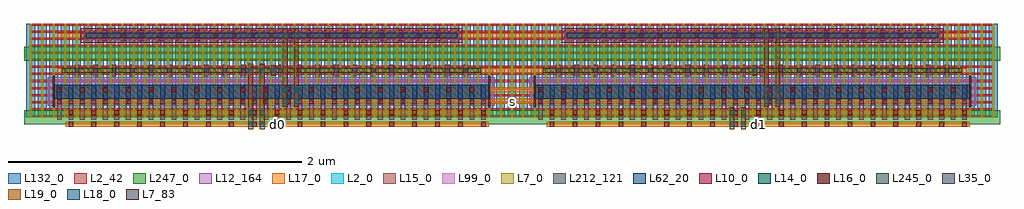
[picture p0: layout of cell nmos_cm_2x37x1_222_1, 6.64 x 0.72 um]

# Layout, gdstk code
import gdstk
lib = gdstk.Library(unit=1e-6, precision=1e-12)
def R(c, l, rs):  # rectangles x0, y0, x1, y1
    for r in rs: c.add(gdstk.rectangle(r[:2], r[2:], *l))
def A(c, l, x, y, w, h, nx, ny, dx, dy):  # array of equal rectangles
    R(c, l, [(x+i*dx, y+j*dy, x+i*dx+w, y+j*dy+h) for i in range(nx) for j in range(ny)])
L2_0 = (2, 0)
L2_42 = (2, 42)
L7_0 = (7, 0)
L7_83 = (7, 83)
L10_0 = (10, 0)
L12_164 = (12, 164)
L14_0 = (14, 0)
L15_0 = (15, 0)
L16_0 = (16, 0)
L17_0 = (17, 0)
L18_0 = (18, 0)
L19_0 = (19, 0)
L35_0 = (35, 0)
L62_20 = (62, 20)
L99_0 = (99, 0)
L132_0 = (132, 0)
L212_121 = (212, 121)
L245_0 = (245, 0)
L247_0 = (247, 0)

nmos_cm_2x37x1_222_1 = lib.new_cell('nmos_cm_2x37x1_222_1')
R(nmos_cm_2x37x1_222_1, L2_0, [(0.186,0.127,3.15,0.223), (3.462,0.127,6.426,0.223), (0.3893,0.527,2.9467,0.587), (3.6653,0.527,6.2227,0.587)])
A(nmos_cm_2x37x1_222_1, L2_42, 0.023, 0, 6.552, 0.014, 1, 14, 0, 0.048)
A(nmos_cm_2x37x1_222_1, L7_0, 0.023, 0, 0.014, 0.638, 85, 1, 0.078, 0)
R(nmos_cm_2x37x1_222_1, L7_83, [(0.179,0.067,0.193,0.283), (3.143,0.067,3.157,0.283), (3.455,0.067,3.469,0.283), (6.419,0.067,6.433,0.283)])
R(nmos_cm_2x37x1_222_1, L10_0, [(0.3693,0.507,2.9667,0.607), (3.6453,0.507,6.2427,0.607)])
R(nmos_cm_2x37x1_222_1, L12_164, [(0.147,0.079,3.189,0.271), (3.423,0.079,6.465,0.271)])
A(nmos_cm_2x37x1_222_1, L14_0, 0.208, 0.127, 0.034, 0.096, 38, 1, 0.078, 0)
A(nmos_cm_2x37x1_222_1, L14_0, 3.484, 0.127, 0.034, 0.096, 38, 1, 0.078, 0)
R(nmos_cm_2x37x1_222_1, L14_0, [(0.4043,0.537,2.9317,0.577), (3.6803,0.537,6.2077,0.577)])
A(nmos_cm_2x37x1_222_1, L15_0, 0.209, -0.017, 0.032, 0.24, 38, 1, 0.078, 0)
A(nmos_cm_2x37x1_222_1, L15_0, 3.485, -0.017, 0.032, 0.24, 38, 1, 0.078, 0)
A(nmos_cm_2x37x1_222_1, L15_0, 0.287, 0.061, 0.032, 0.067, 19, 1, 0.156, 0)
A(nmos_cm_2x37x1_222_1, L15_0, 3.563, 0.061, 0.032, 0.067, 19, 1, 0.156, 0)
A(nmos_cm_2x37x1_222_1, L15_0, 0.329, 0.278, 0.032, 0.08, 22, 1, 0.126, 0)
A(nmos_cm_2x37x1_222_1, L15_0, 3.605, 0.278, 0.032, 0.08, 22, 1, 0.126, 0)
A(nmos_cm_2x37x1_222_1, L15_0, 0.518, 0.517, 0.032, 0.08, 19, 1, 0.126, 0)
A(nmos_cm_2x37x1_222_1, L15_0, 3.794, 0.517, 0.032, 0.08, 19, 1, 0.126, 0)
A(nmos_cm_2x37x1_222_1, L16_0, 0.287, -0.063, 0.032, 0.032, 19, 2, 0.156, 0.078)
A(nmos_cm_2x37x1_222_1, L16_0, 3.563, -0.063, 0.032, 0.032, 19, 2, 0.156, 0.078)
A(nmos_cm_2x37x1_222_1, L16_0, 0.209, 0.093, 0.032, 0.032, 19, 2, 0.156, 0.078)
A(nmos_cm_2x37x1_222_1, L16_0, 3.485, 0.093, 0.032, 0.032, 19, 2, 0.156, 0.078)
A(nmos_cm_2x37x1_222_1, L16_0, 0.329, 0.302, 0.032, 0.032, 22, 1, 0.126, 0)
A(nmos_cm_2x37x1_222_1, L16_0, 3.605, 0.302, 0.032, 0.032, 22, 1, 0.126, 0)
A(nmos_cm_2x37x1_222_1, L16_0, 0.518, 0.541, 0.032, 0.032, 19, 1, 0.126, 0)
A(nmos_cm_2x37x1_222_1, L16_0, 3.794, 0.541, 0.032, 0.032, 19, 1, 0.126, 0)
R(nmos_cm_2x37x1_222_1, L17_0, [(0.267,-0.063,3.147,-0.031), (3.543,-0.063,6.423,-0.031), (0.267,0.015,3.147,0.047), (3.543,0.015,6.423,0.047), (0.186,0.093,3.15,0.125), (3.14,0.093,3.472,0.125), (3.462,0.093,6.426,0.125), (0.186,0.171,3.15,0.203), (3.14,0.171,3.472,0.203), (3.462,0.171,6.426,0.203), (0.209,0.302,3.127,0.334), (3.117,0.302,3.495,0.334), (3.485,0.302,6.403,0.334), (0.209,0.541,3.127,0.573), (3.117,0.541,3.495,0.573), (3.485,0.541,6.403,0.573)])
A(nmos_cm_2x37x1_222_1, L18_0, 1.512, 0.302, 0.032, 0.032, 3, 1, 0.078, 0)
R(nmos_cm_2x37x1_222_1, L18_0, [(1.512,-0.063,1.544,-0.031), (1.59,-0.063,1.622,-0.031), (4.788,-0.063,4.82,-0.031), (4.866,-0.063,4.898,-0.031), (1.512,0.015,1.544,0.047), (1.59,0.015,1.622,0.047), (4.788,0.015,4.82,0.047), (4.866,0.015,4.898,0.047), (1.746,0.093,1.778,0.125), (1.824,0.093,1.856,0.125), (5.022,0.093,5.054,0.125), (5.1,0.093,5.132,0.125), (1.746,0.171,1.778,0.203), (1.824,0.171,1.856,0.203), (5.022,0.171,5.054,0.203), (5.1,0.171,5.132,0.203), (4.944,0.302,4.976,0.334), (1.746,0.541,1.778,0.573), (1.824,0.541,1.856,0.573), (5.022,0.541,5.054,0.573), (5.1,0.541,5.132,0.573)])
R(nmos_cm_2x37x1_222_1, L19_0, [(1.512,-0.083,1.544,0.067), (1.59,-0.083,1.622,0.067), (4.788,-0.083,4.82,0.067), (4.866,-0.083,4.898,0.067), (1.512,0.057,1.544,0.364), (1.59,0.057,1.622,0.364), (1.746,0.073,1.778,0.223), (1.824,0.073,1.856,0.223), (5.022,0.073,5.054,0.223), (5.1,0.073,5.132,0.223), (1.746,0.213,1.778,0.603), (1.824,0.213,1.856,0.603), (5.022,0.213,5.054,0.603), (5.1,0.213,5.132,0.603), (1.668,0.282,1.7,0.354), (4.944,0.282,4.976,0.354)])
A(nmos_cm_2x37x1_222_1, L35_0, 0.209, 0.087, 0.032, 0.032, 38, 1, 0.078, 0)
A(nmos_cm_2x37x1_222_1, L35_0, 3.485, 0.087, 0.032, 0.032, 38, 1, 0.078, 0)
A(nmos_cm_2x37x1_222_1, L35_0, 0.329, 0.302, 0.032, 0.032, 22, 1, 0.126, 0)
A(nmos_cm_2x37x1_222_1, L35_0, 3.605, 0.302, 0.032, 0.032, 22, 1, 0.126, 0)
A(nmos_cm_2x37x1_222_1, L35_0, 0.518, 0.541, 0.032, 0.032, 19, 1, 0.126, 0)
A(nmos_cm_2x37x1_222_1, L35_0, 3.794, 0.541, 0.032, 0.032, 19, 1, 0.126, 0)
R(nmos_cm_2x37x1_222_1, L62_20, [(0.186,0.127,3.15,0.223), (3.462,0.127,6.426,0.223)])
R(nmos_cm_2x37x1_222_1, L99_0, [(0.186,0.127,3.15,0.223), (3.462,0.127,6.426,0.223), (0.3993,0.532,2.9367,0.582), (3.6753,0.532,6.2127,0.582)])
A(nmos_cm_2x37x1_222_1, L132_0, 0, 0, 0.06, 0.638, 85, 1, 0.078, 0)
R(nmos_cm_2x37x1_222_1, L212_121, [(0.186,0.127,3.15,0.223), (3.462,0.127,6.426,0.223)])
R(nmos_cm_2x37x1_222_1, L245_0, [(0.241,0.303,3.095,0.333), (3.517,0.303,6.371,0.333)])
R(nmos_cm_2x37x1_222_1, L247_0, [(-0.016,-0.047,3.352,0.047), (3.26,-0.047,6.628,0.047), (-0.016,0.385,3.352,0.479), (3.26,0.385,6.628,0.479)])
nmos_cm_2x37x1_222_1.add(gdstk.Label('s', (3.306,0.109), layer=16, texttype=20))
nmos_cm_2x37x1_222_1.add(gdstk.Label('d1', (4.983,-0.047), layer=16, texttype=20))
nmos_cm_2x37x1_222_1.add(gdstk.Label('d0', (1.707,-0.047), layer=16, texttype=20))

lib.write_gds('nmos_cm_2x37x1_222_1.gds')
